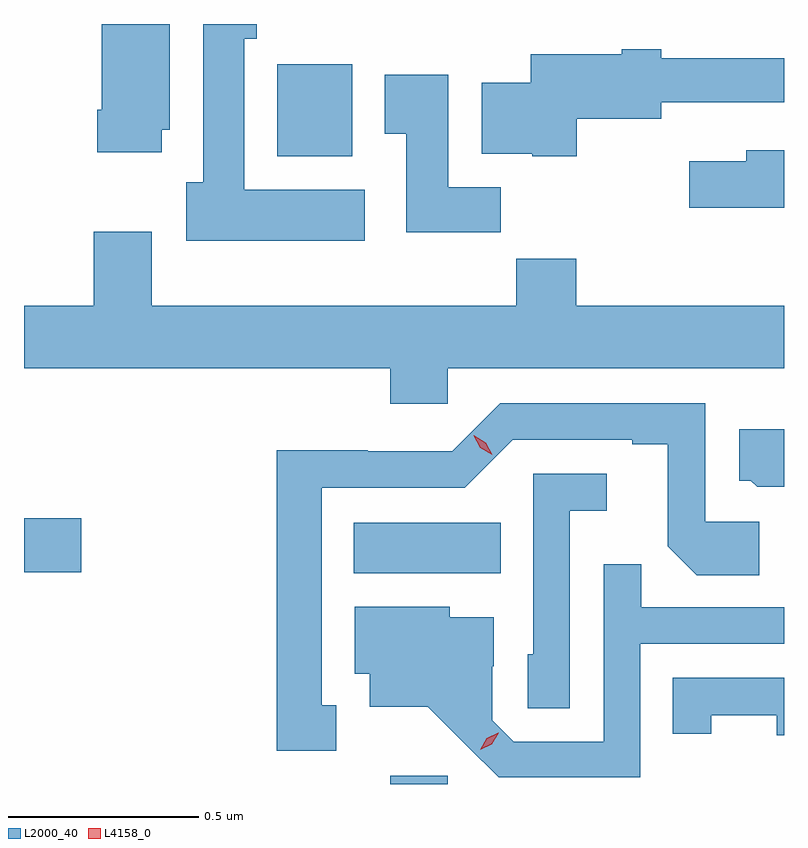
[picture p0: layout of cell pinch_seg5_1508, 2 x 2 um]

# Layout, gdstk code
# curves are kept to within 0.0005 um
import gdstk
lib = gdstk.Library(unit=1e-6, precision=1e-09)
def R(c, l, rs):  # rectangles x0, y0, x1, y1
    for r in rs: c.add(gdstk.rectangle(r[:2], r[2:], *l))
def P(c, l, *ps):  # polygons
    for p in ps: c.add(gdstk.Polygon(p, *l))
L2000_40 = (2000, 40)
L4158_0 = (4158, 0)

pinch_seg5_1508 = lib.new_cell('pinch_seg5_1508')
R(pinch_seg5_1508, L2000_40, [(143.237,884.97,143.388,884.992), (143.141,885.524,143.528,885.658), (142.273,885.527,142.423,885.669), (142.94,886.622,143.137,886.864)])
P(pinch_seg5_1508, L2000_40, [(142.636,886.692),(142.657,886.692),(142.657,886.97),(142.478,886.97),(142.478,886.744),(142.466,886.744),(142.466,886.632),(142.636,886.632)],
  [(143.17,886.534),(142.852,886.534),(142.852,886.931),(142.885,886.931),(142.885,886.97),(142.745,886.97),(142.745,886.554),(142.7,886.554),(142.7,886.4),(143.17,886.4)],
  [(143.728,886.721),(143.95,886.721),(143.95,886.764),(144.273,886.764),(144.273,886.88),(143.95,886.88),(143.95,886.904),(143.846,886.904),(143.846,886.891),(143.606,886.891),(143.606,886.816),(143.477,886.816),(143.477,886.628),(143.61,886.628),(143.61,886.622),(143.728,886.622)],
  [(143.528,886.54),(143.389,886.54),(143.389,886.837),(143.222,886.837),(143.222,886.681),(143.279,886.681),(143.279,886.422),(143.528,886.422)],
  [(144.273,886.638),(144.173,886.638),(144.173,886.609),(144.024,886.609),(144.024,886.487),(144.273,886.487)],
  [(143.388,886.064),(144.273,886.064),(144.273,886.228),(143.726,886.228),(143.726,886.352),(143.569,886.352),(143.569,886.228),(142.609,886.228),(142.609,886.423),(142.457,886.423),(142.457,886.228),(142.273,886.228),(142.273,886.064),(143.237,886.064),(143.237,885.971),(143.388,885.971)],
  [(143.095,885.177),(143.056,885.177),(143.056,885.75),(143.433,885.75),(143.559,885.876),(143.873,885.876),(143.873,885.864),(143.967,885.864),(143.967,885.596),(144.043,885.52),(144.208,885.52),(144.208,885.66),(144.066,885.66),(144.066,885.972),(143.526,885.972),(143.4,885.846),(143.178,885.846),(143.178,885.848),(142.938,885.848),(142.938,885.057),(143.095,885.057)],
  [(144.273,885.904),(144.155,885.904),(144.155,885.768),(144.186,885.768),(144.202,885.752),(144.273,885.752)],
  [(143.709,885.689),(143.806,885.689),(143.806,885.786),(143.613,885.786),(143.613,885.312),(143.598,885.312),(143.598,885.169),(143.709,885.169)],
  [(143.895,885.339),(144.273,885.339),(144.273,885.435),(143.897,885.435),(143.897,885.548),(143.799,885.548),(143.799,885.081),(143.562,885.081),(143.505,885.138),(143.505,885.28),(143.509,885.28),(143.509,885.409),(143.394,885.409),(143.394,885.436),(143.144,885.436),(143.144,885.26),(143.183,885.26),(143.183,885.173),(143.335,885.173),(143.522,884.988),(143.895,884.988)],
  [(144.273,885.249),(143.98,885.249),(143.98,885.102),(144.081,885.102),(144.081,885.151),(144.254,885.151),(144.254,885.098),(144.273,885.098)])
P(pinch_seg5_1508, L4158_0, [(143.474,885.06),(143.474,885.06),(143.491,885.09),(143.521,885.105),(143.522,885.105),(143.522,885.105),(143.504,885.075),(143.474,885.06)],
  [(143.505,885.836),(143.473,885.855),(143.456,885.887),(143.456,885.888),(143.456,885.888),(143.488,885.868),(143.505,885.836),(143.505,885.836)])

lib.write_gds('pinch_seg5_1508.gds')
